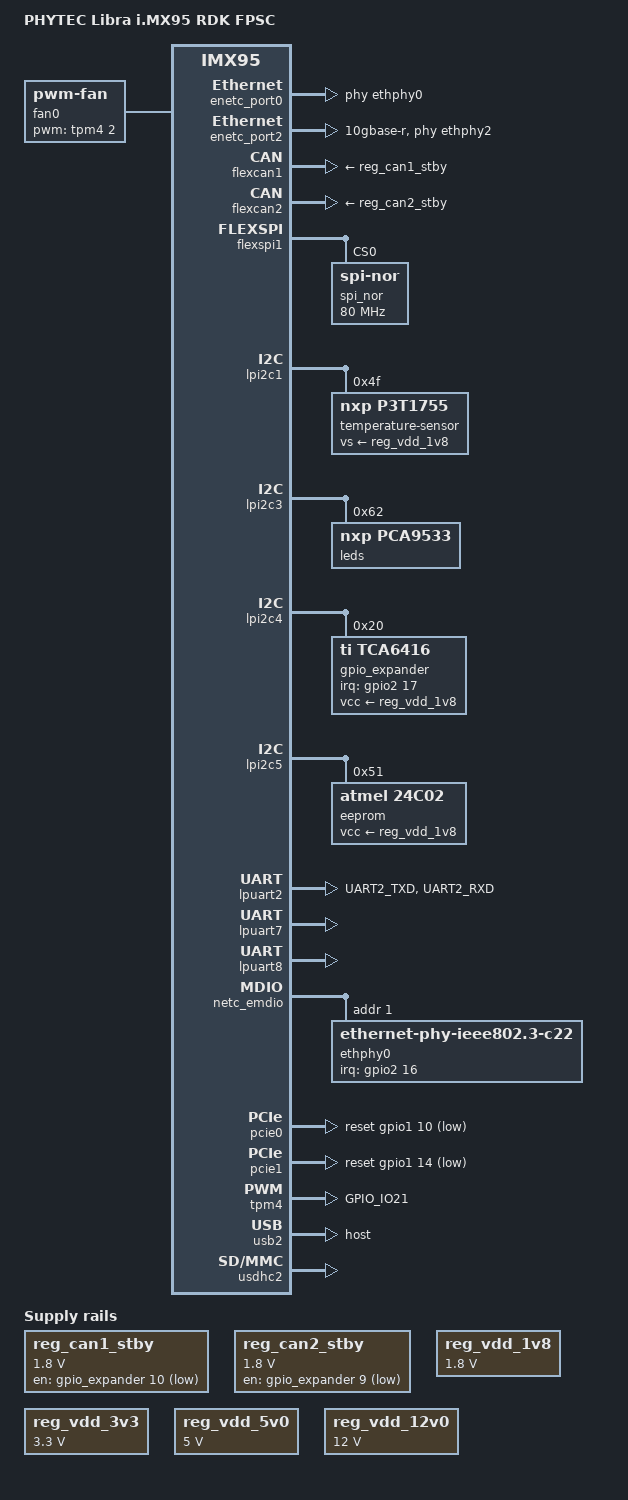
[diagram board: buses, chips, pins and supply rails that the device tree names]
// SPDX-License-Identifier: (GPL-2.0+ OR MIT)
/*
 * Copyright 2025 PHYTEC Messtechnik GmbH
 */

/dts-v1/;

#include <dt-bindings/pwm/pwm.h>
#include <dt-bindings/leds/leds-pca9532.h>

#include "imx95-phycore-fpsc.dtsi"

/ {
	model = "PHYTEC Libra i.MX95 RDK FPSC";
	compatible = "phytec,imx95-libra-rdk-fpsc",
		     "phytec,imx95-phycore-fpsc", "fsl,imx95";

	aliases {
		ethernet0 = &enetc_port0;
		ethernet2 = &enetc_port2;
	};

	chosen {
		stdout-path = &lpuart7;
	};

	backlight_lvds0: backlight0 {
		compatible = "pwm-backlight";
		pinctrl-names = "default";
		pinctrl-0 = <&pinctrl_lvds0>;
		power-supply = <&reg_vdd_12v0>;
		status = "disabled";
	};

	fan0: pwm-fan {
		compatible = "pwm-fan";
		#cooling-cells = <2>;
		/* copied from bindings example, need to be tested */
		cooling-levels = <0 102 170 230>;
		pwms = <&tpm4 2 4000000 PWM_POLARITY_INVERTED>;
	};

	panel0_lvds: panel-lvds0 {
		/* compatible panel in overlay */
		backlight = <&backlight_lvds0>;
		power-supply = <&reg_vdd_3v3>;
		status = "disabled";

		port {
			panel0_in: endpoint {
				remote-endpoint = <&lvds0_out>;
			};
		};
	};

	reg_can1_stby: regulator-can1-stby {
	       compatible = "regulator-fixed";
	       gpio = <&gpio_expander 10 GPIO_ACTIVE_LOW>;
	       regulator-max-microvolt = <1800000>;
	       regulator-min-microvolt = <1800000>;
	       regulator-name = "can1-stby";
	};

	reg_can2_stby: regulator-can2-stby {
		compatible = "regulator-fixed";
		gpio = <&gpio_expander 9 GPIO_ACTIVE_LOW>;
		regulator-max-microvolt = <1800000>;
		regulator-min-microvolt = <1800000>;
		regulator-name = "can2-stby";
	};

	reg_vdd_1v8: regulator-vdd-1v8 {
		compatible = "regulator-fixed";
		regulator-always-on;
		regulator-boot-on;
		regulator-min-microvolt = <1800000>;
		regulator-max-microvolt = <1800000>;
		regulator-name = "VDD_1V8";
	};

	reg_vdd_3v3: regulator-vdd-3v3 {
		compatible = "regulator-fixed";
		regulator-always-on;
		regulator-boot-on;
		regulator-min-microvolt = <3300000>;
		regulator-max-microvolt = <3300000>;
		regulator-name = "VDD_3V3";
	};

	reg_vdd_5v0: regulator-vdd-5v0 {
		compatible = "regulator-fixed";
		regulator-always-on;
		regulator-boot-on;
		regulator-max-microvolt = <5000000>;
		regulator-min-microvolt = <5000000>;
		regulator-name = "VDD_5V0";
	};

	reg_vdd_12v0: regulator-12v0 {
		compatible = "regulator-fixed";
		regulator-always-on;
		regulator-boot-on;
		regulator-max-microvolt = <12000000>;
		regulator-min-microvolt = <12000000>;
		regulator-name = "VDD_12V0";
	};
};

&enetc_port0 {
	phy-handle = <&ethphy0>;
	status = "okay";
};

&enetc_port2 {
	managed = "in-band-status";
	phy-mode = "10gbase-r";
	phy-handle = <&ethphy2>;
};

/* CAN FD */
&flexcan1 {
	xceiver-supply = <&reg_can1_stby>;
	status = "okay";
};

&flexcan2 {
	xceiver-supply = <&reg_can2_stby>;
	status = "okay";
};

/* SPI-NOR */
&flexspi1 {
	pinctrl-names = "default";
	pinctrl-0 = <&pinctrl_flexspi>;
	status = "okay";

	spi_nor: flash@0 {
		compatible = "jedec,spi-nor";
		reg = <0>;
		spi-max-frequency = <80000000>;
		spi-rx-bus-width = <4>;
		spi-tx-bus-width = <1>;
	};
};

&ldb {
	#address-cells = <1>;
	#size-cells = <0>;
	/* Channel 0 used for onboard LVDS */
	channel@0 {
		#address-cells = <1>;
		#size-cells = <0>;
		reg = <0>;
		status = "okay";

		port@1 {
			reg = <1>;

			lvds0_out: endpoint {
				remote-endpoint = <&panel0_in>;
			};
		};
	};
};

&lpi2c1 {
	temperature-sensor@4f {
		compatible = "nxp,p3t1755";
		reg = <0x4f>;
		vs-supply = <&reg_vdd_1v8>;
	};
};

&lpi2c3 {
	#address-cells = <1>;
	#size-cells = <0>;
	status = "okay";

	leds@62 {
		compatible = "nxp,pca9533";
		reg = <0x62>;

		led-1 {
			type = <PCA9532_TYPE_LED>;
		};

		led-2 {
			type = <PCA9532_TYPE_LED>;
		};

		led-3 {
			type = <PCA9532_TYPE_LED>;
		};
	};
};

&lpi2c4 {
	#address-cells = <1>;
	#size-cells = <0>;
	status = "okay";

	gpio_expander: gpio@20 {
		compatible = "ti,tca6416";
		#gpio-cells = <2>;
		gpio-controller;
		gpio-line-names = "CSI1_CTRL1", "CSI1_CTRL2", "CSI1_CTRL3",
				  "CSI1_CTRL4", "CSI2_CTRL1", "CSI2_CTRL2",
				  "CSI2_CTRL3", "CSI2_CTRL4", "CLK_EN_AV",
				  "nCAN2_EN", "nCAN1_EN", "PCIE1_nWAKE",
				  "PCIE2_nWAKE", "PCIE2_nALERT_3V3",
				  "UART1_BT_RS_SEL", "UART1_RS232_485_SEL";
		interrupt-parent = <&gpio2>;
		interrupts = <17 IRQ_TYPE_LEVEL_LOW>;
		reg = <0x20>;
		vcc-supply = <&reg_vdd_1v8>;

		uart1_bt_rs_sel: bt-rs-hog {
			gpio-hog;
			gpios = <14 0>;
			output-low;
			line-name = "UART1_BT_RS_SEL";
		};

		uart1_rs232_485_sel: rs232-485-hog {
			gpio-hog;
			gpios = <15 0>;
			output-high;
			line-name = "UART1_RS232_485_SEL";
		};
	};
};

&lpi2c5 {
	#address-cells = <1>;
	#size-cells = <0>;
	status = "okay";

	eeprom@51 {
		compatible = "atmel,24c02";
		vcc-supply = <&reg_vdd_1v8>;
		reg = <0x51>;
		pagesize = <16>;
	};

};

/* Used for M33 debug */
&lpuart2 {
	pinctrl-names = "default";
	pinctrl-0 = <&pinctrl_lpuart2>;
};

/* A-55 debug UART */
&lpuart7 {
	status = "okay";
};

/* RS232/RS485/BT */
&lpuart8 {
	uart-has-rtscts;
	status = "okay";
};

&netc_emdio { /* RGMII2 */

	ethphy0: ethernet-phy@1 {
		compatible = "ethernet-phy-ieee802.3-c22";
		reg = <0x1>;
		interrupt-parent = <&gpio2>;
		interrupts = <16 IRQ_TYPE_LEVEL_LOW>;
		ti,rx-internal-delay = <DP83867_RGMIIDCTL_1_50_NS>;
		ti,tx-internal-delay = <DP83867_RGMIIDCTL_2_00_NS>;
		ti,fifo-depth = <DP83867_PHYCR_FIFO_DEPTH_4_B_NIB>;
		ti,clk-output-sel = <DP83867_CLK_O_SEL_OFF>;
		enet-phy-lane-no-swap;
	};

	ethphy2: ethernet-phy@8 {
		compatible = "ethernet-phy-ieee802.3-c45";

		max-speed = <10000>; /* 10Gbit/s */
		reg = <0x8>;
		status = "disabled";
	};
};

&pcie0 {
	reset-gpio = <&gpio1 10 GPIO_ACTIVE_LOW>;
	vpcie-supply = <&reg_vdd_3v3>;
	status = "okay";
};

&pcie1 {
	reset-gpio = <&gpio1 14 GPIO_ACTIVE_LOW>;
	vpcie-supply = <&reg_vdd_3v3>;
	status = "okay";
};

&rv3028 {
	pinctrl-names = "default";
	pinctrl-0 = <&pinctrl_rtc>;
	interrupt-parent = <&gpio2>;
	interrupts = <18 IRQ_TYPE_LEVEL_LOW>;
	aux-voltage-chargeable = <1>;
	wakeup-source;
	trickle-resistor-ohms = <3000>;
};

&gpio2 {
	gpio-line-names = "", "", "", "", "",
			  "", "", "", "", "",
			  "", "", "", "", "",
			  "", "RGMII2_nINT", "GPIO4", "RTC_nINT", "",
			  "LVDS_BL_EN";
};

&scmi_iomuxc {
	pinctrl_lvds0: lvds0grp {
		fsl,pins = <
			IMX95_PAD_GPIO_IO20__GPIO2_IO_BIT20	0x31e
		>;
	};

	pinctrl_tpm4: tpm4grp {
		fsl,pins = <
			IMX95_PAD_GPIO_IO21__TPM4_CH1	0x31e
		>;
	};

	pinctrl_lpuart2: lpuart2grp { /* FPSC proprietary */
		fsl,pins = <
			IMX95_PAD_UART2_TXD__AONMIX_TOP_LPUART2_TX	0x31e
			IMX95_PAD_UART2_RXD__AONMIX_TOP_LPUART2_RX	0x31e
		>;
	};
	pinctrl_rtc: rtcgrp {
		fsl,pins = <
			IMX95_PAD_GPIO_IO18__GPIO2_IO_BIT18	0x31e
		>;
	};
};

&thermal_zones {
	a55-thermal {
		trips {
			atrip2: trip2 {
				temperature = <55000>;
				hysteresis = <2000>;
				type = "active";
			};

			atrip3: trip3 {
				temperature = <65000>;
				hysteresis = <2000>;
				type = "active";
			};

			atrip4: trip4 {
				temperature = <75000>;
				hysteresis = <2000>;
				type = "active";
			};
		};

		cooling-maps {
			map1 {
				trip = <&atrip2>;
				cooling-device = <&fan0 0 1>;
			};

			map2 {
				trip = <&atrip3>;
				cooling-device = <&fan0 1 2>;
			};

			map3 {
				trip = <&atrip4>;
				cooling-device = <&fan0 2 3>;
			};
		};
	};
};

&tpm4 {
	pinctrl-names = "default";
	pinctrl-0 = <&pinctrl_tpm4>;
	status = "okay";
};

/* USB Hub */
&usb2 {
        dr_mode = "host";
        status = "okay";
};

/* uSD Card */
&usdhc2 {
	status = "okay";
};
